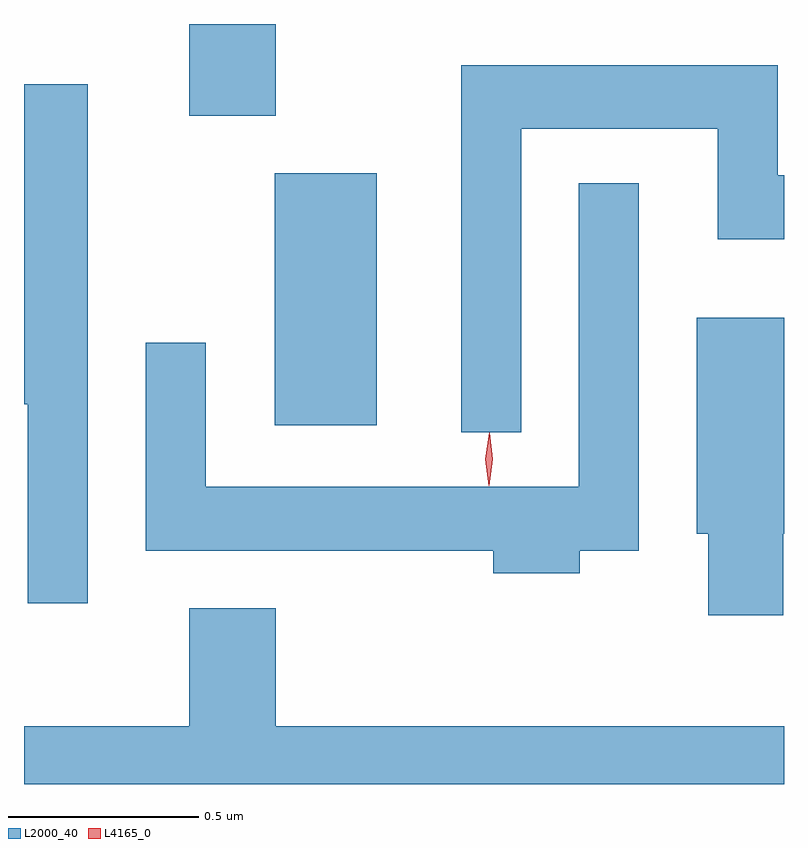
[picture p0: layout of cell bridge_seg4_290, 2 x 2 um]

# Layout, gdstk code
import gdstk
lib = gdstk.Library(unit=1e-6, precision=1e-09)
def R(c, l, rs):  # rectangles x0, y0, x1, y1
    for r in rs: c.add(gdstk.rectangle(r[:2], r[2:], *l))
def P(c, l, *ps):  # polygons
    for p in ps: c.add(gdstk.Polygon(p, *l))
L2000_40 = (2000, 40)
L4165_0 = (4165, 0)

bridge_seg4_290 = lib.new_cell('bridge_seg4_290')
R(bridge_seg4_290, L2000_40, [(516.076,1331.316,516.344,1331.979), (515.851,1332.131,516.079,1332.372)])
P(bridge_seg4_290, L2000_40, [(516.724,1332.096),(517.241,1332.096),(517.241,1331.806),(517.416,1331.806),(517.416,1331.974),(517.399,1331.974),(517.399,1332.264),(516.566,1332.264),(516.566,1331.298),(516.724,1331.298)],
  [(515.584,1332.214),(515.416,1332.214),(515.416,1331.371),(515.426,1331.371),(515.426,1330.848),(515.584,1330.848)],
  [(516.879,1330.986),(517.034,1330.986),(517.034,1331.953),(516.876,1331.953),(516.876,1331.154),(515.894,1331.154),(515.894,1331.533),(515.736,1331.533),(515.736,1330.986),(516.651,1330.986),(516.651,1330.926),(516.879,1330.926)],
  [(517.414,1331.031),(517.416,1331.031),(517.416,1331.599),(517.186,1331.599),(517.186,1331.031),(517.216,1331.031),(517.216,1330.816),(517.414,1330.816)],
  [(517.416,1330.524),(516.079,1330.524),(516.079,1330.834),(515.851,1330.834),(515.851,1330.524),(515.416,1330.524),(515.416,1330.372),(517.416,1330.372)])
P(bridge_seg4_290, L4165_0, [(516.639,1331.157),(516.63,1331.227),(516.64,1331.296),(516.64,1331.296),(516.641,1331.296),(516.65,1331.227),(516.64,1331.157),(516.64,1331.157)])

lib.write_gds('bridge_seg4_290.gds')
